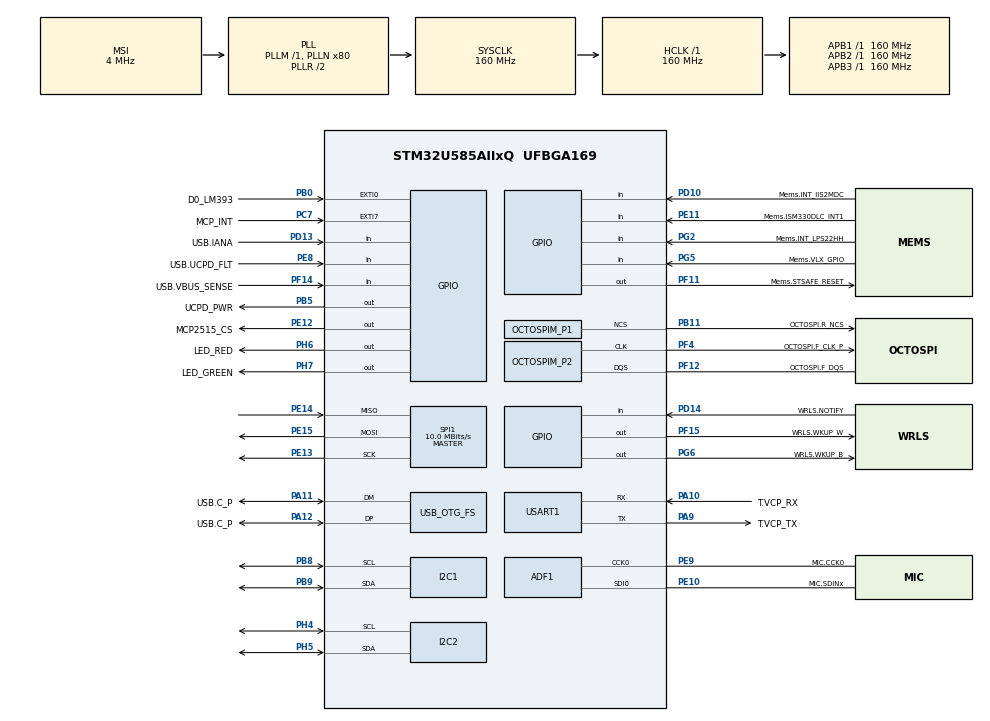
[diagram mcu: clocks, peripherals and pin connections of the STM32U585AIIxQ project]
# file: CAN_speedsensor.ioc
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CORTEX_M33_NS.userName=CORTEX_M33
I2C1.Timing=0x30909DEC
I2C2.Timing=0x30909DEC
Mcu.Family=STM32U5
Mcu.Name=STM32U585AIIxQ
Mcu.Package=UFBGA169
NVIC.EXTI0_IRQn=true\:0\:0\:false\:false\:true\:true\:true\:true
NVIC.EXTI7_IRQn=true\:0\:0\:false\:false\:true\:true\:true\:true
NVIC.PriorityGroup=NVIC_PRIORITYGROUP_4
OCTOSPI1.ChipSelectBoundary=10
OCTOSPI1.ClockPrescaler=2
OCTOSPI1.DelayBlockBypass=HAL_OSPI_DELAY_BLOCK_USED
OCTOSPI1.DelayHoldQuarterCycle=HAL_OSPI_DHQC_ENABLE
OCTOSPI1.DeviceSize=23
OCTOSPI1.MemoryType=HAL_OSPI_MEMTYPE_APMEMORY
OCTOSPI1.Refresh=100
OCTOSPI2.ChipSelectBoundary=0
OCTOSPI2.ChipSelectHighTime=2
OCTOSPI2.ClockPrescaler=4
OCTOSPI2.DelayBlockBypass=HAL_OSPI_DELAY_BLOCK_USED
OCTOSPI2.DelayHoldQuarterCycle=HAL_OSPI_DHQC_ENABLE
OCTOSPI2.DeviceSize=26
OCTOSPI2.FifoThreshold=4
OCTOSPI2.MemoryType=HAL_OSPI_MEMTYPE_MACRONIX
PA10.GPIO_Label=T.VCP_RX
PA10.Mode=Asynchronous
PA10.Signal=USART1_RX
PA11.GPIO_Label=USB.C_P
PA11.Mode=Device_Only
PA11.Signal=USB_OTG_FS_DM
PA12.GPIO_Label=USB.C_P
PA12.Mode=Device_Only
PA12.Signal=USB_OTG_FS_DP
PA13\ (JTMS/SWDIO).GPIO_Label=T.SWDIO
PA13\ (JTMS/SWDIO).Mode=Trace_Asynchronous_SW
PA13\ (JTMS/SWDIO).Signal=DEBUG_JTMS-SWDIO
PA14\ (JTCK/SWCLK).GPIO_Label=T.SWCLK
PA14\ (JTCK/SWCLK).Mode=Trace_Asynchronous_SW
PA14\ (JTCK/SWCLK).Signal=DEBUG_JTCK-SWCLK
PA9.GPIO_Label=T.VCP_TX
PA9.Mode=Asynchronous
PA9.Signal=USART1_TX
PB0.GPIO_Label=D0_LM393
PB0.GPIO_ModeDefaultEXTI=GPIO_MODE_IT_FALLING
PB0.GPIO_PuPd=GPIO_PULLUP
PB0.Signal=GPXTI0
PB11.GPIO_Label=OCTOSPI.R_NCS
PB11.Mode=OCTOSPI1_Port1_NCS
PB11.Signal=OCTOSPIM_P1_NCS
PB15.GPIO_Label=USB.UCPD_CC2
PB15.Signal=UCPD1_CC2
PB3\ (JTDO/TRACESWO).GPIO_Label=T.SWO
PB3\ (JTDO/TRACESWO).Mode=Trace_Asynchronous_SW
PB3\ (JTDO/TRACESWO).Signal=DEBUG_JTDO-SWO
PB5.GPIO_Label=UCPD_PWR
PB5.Signal=GPIO_Output
PB8.Mode=I2C
PB8.Signal=I2C1_SCL
PB9.Mode=I2C
PB9.Signal=I2C1_SDA
PC10.GPIO_Label=WRLS.UART4_TX
PC10.Signal=UART4_TX
PC7.GPIO_Label=MCP_INT
PC7.GPIO_ModeDefaultEXTI=GPIO_MODE_IT_FALLING
PC7.GPIO_PuPd=GPIO_PULLUP
PC7.Signal=GPXTI7
PD10.GPIO_Label=Mems.INT_IIS2MDC
PD10.Signal=GPIO_Input
PD13.GPIO_Label=USB.IANA
PD13.Signal=GPIO_Input
PD14.GPIO_Label=WRLS.NOTIFY
PD14.Signal=GPIO_Input
PD3.GPIO_Mode=GPIO_MODE_AF_PP
PD3.GPIO_PuPd=GPIO_NOPULL
PD3.GPIO_Speed=GPIO_SPEED_FREQ_LOW
PD3.Signal=SPI2_MISO
PD4.GPIO_Mode=GPIO_MODE_AF_PP
PD4.GPIO_PuPd=GPIO_NOPULL
PD4.GPIO_Speed=GPIO_SPEED_FREQ_LOW
PD4.Signal=SPI2_MOSI
PE10.GPIO_Label=MIC.SDINx
PE10.Mode=MOD_ADF_CCK
PE10.Signal=ADF1_SDI0
PE11.GPIO_Label=Mems.ISM330DLC_INT1
PE11.Signal=GPIO_Input
PE12.GPIO_Label=MCP2515_CS
PE12.GPIO_PuPd=GPIO_NOPULL
PE12.PinState=GPIO_PIN_SET
PE12.Signal=GPIO_Output
PE13.Mode=Full_Duplex_Master
PE13.Signal=SPI1_SCK
PE14.Mode=Full_Duplex_Master
PE14.Signal=SPI1_MISO
PE15.Mode=Full_Duplex_Master
PE15.Signal=SPI1_MOSI
PE8.GPIO_Label=USB.UCPD_FLT
PE8.Signal=GPIO_Input
PE9.GPIO_Label=MIC.CCK0
PE9.Mode=MOD_MDF_CCK0
PE9.Signal=ADF1_CCK0
PF11.GPIO_Label=Mems.STSAFE_RESET
PF11.Signal=GPIO_Output
PF12.GPIO_Label=OCTOSPI.F_DQS
PF12.Mode=OCTOSPI2_Port2_DQS
PF12.Signal=OCTOSPIM_P2_DQS
PF14.GPIO_Label=USB.VBUS_SENSE
PF14.Signal=GPIO_Input
PF15.GPIO_Label=WRLS.WKUP_W
PF15.Signal=GPIO_Output
PF4.GPIO_Label=OCTOSPI.F_CLK_P
PF4.Mode=O2_P2_CLK
PF4.Signal=OCTOSPIM_P2_CLK
PG2.GPIO_Label=Mems.INT_LPS22HH
PG2.Signal=GPIO_Input
PG5.GPIO_Label=Mems.VLX_GPIO
PG5.Signal=GPIO_Input
PG6.GPIO_Label=WRLS.WKUP_B
PG6.Signal=GPIO_Output
PH4.Mode=I2C
PH4.Signal=I2C2_SCL
PH5.Mode=I2C
PH5.Signal=I2C2_SDA
PH6.GPIO_Label=LED_RED
PH6.Signal=GPIO_Output
PH7.GPIO_Label=LED_GREEN
PH7.Signal=GPIO_Output
PH9.GPIO_Label=OCTOSPI.F_IO4
PH9.Signal=OCTOSPIM_P2_IO4
PWR.PowerMode=PWR_SMPS_SUPPLY
ProjectManager.HeapSize=0x200
ProjectManager.StackSize=0x400
ProjectManager.TargetToolchain=STM32CubeIDE
RCC.ADCFreq_Value=16000000
RCC.AHBFreq_Value=160000000
RCC.APB1Freq_Value=160000000
RCC.APB1TimFreq_Value=160000000
RCC.APB2Freq_Value=160000000
RCC.APB2TimFreq_Value=160000000
RCC.APB3Freq_Value=160000000
RCC.CortexFreq_Value=160000000
RCC.DACCLockSelectionVirtual=RCC_DAC1CLKSOURCE_LSI
RCC.EPOD_VALUE=4000000
RCC.HCLKFreq_Value=160000000
RCC.HSE_VALUE=16000000
RCC.HSI48_VALUE=48000000
RCC.HSI_VALUE=16000000
RCC.LSE_VALUE=32768
RCC.LSIDIV_VALUE=32000
RCC.MSI_VALUE=4000000
RCC.PLLN=80
RCC.SYSCLKFreq_VALUE=160000000
RCC.SYSCLKSource=RCC_SYSCLKSOURCE_PLLCLK
RCC.USBFreq_Value=48000000
RCC.VCOOutputFreq_Value=320000000
SPI1.BaudRatePrescaler=SPI_BAUDRATEPRESCALER_16
SPI1.CalculateBaudRate=10.0 MBits/s
SPI1.DataSize=SPI_DATASIZE_8BIT
SPI1.Direction=SPI_DIRECTION_2LINES
SPI1.Mode=SPI_MODE_MASTER
SPI1.VirtualType=VM_MASTER
USART1.VirtualMode-Asynchronous=VM_ASYNC
USB_OTG_FS.VirtualMode=Device_Only
VP_ICACHE_VS_ICACHE.Mode=DirectMappedCache
VP_LPBAMQUEUE_VS_QUEUE.Mode=QUEUEMODE
VP_LPBAM_VS_SIG1.Mode=SmartRun
VP_LPBAM_VS_SIG4.Mode=LPDMA1
VP_MEMORYMAP_VS_MEMORYMAP.Mode=CurAppReg
VP_OCTOSPI1_VS_octo.Mode=octo_mode
VP_OCTOSPI2_VS_octo.Mode=octo_mode
VP_PWR_VS_DBSignals.Mode=DisableDeadBatterySignals
VP_PWR_VS_LPOM.Mode=PowerOptimisation
VP_PWR_VS_SECSignals.Mode=Security/Privilege
board=B-U585I-IOT02A

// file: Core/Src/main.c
/* USER CODE BEGIN Header */
/**
  ******************************************************************************
  * @file           : main.c
  * @brief          : Main program body
  ******************************************************************************
  * @attention
  *
  * Copyright (c) 2025 STMicroelectronics.
  * All rights reserved.
  *
  * This software is licensed under terms that can be found in the LICENSE file
  * in the root directory of this software component.
  * If no LICENSE file comes with this software, it is provided AS-IS.
  *
  ******************************************************************************
  */
/* USER CODE END Header */
#include "main.h"

/* USER CODE BEGIN Includes */
#include "mcp2515.h"
#include <string.h>
#include <stdio.h>
#include "core_cm33.h"
/* USER CODE END Includes */

/* USER CODE BEGIN PD */
#define PULSOS_POR_ROTACAO 20  // Number of holes in the encoder disc
#define INTERVALO_ENVIO_MS 100 // Updates the RPM and sends CAN every 100ms (10Hz)
/* USER CODE END PD */

MDF_HandleTypeDef AdfHandle0;
MDF_FilterConfigTypeDef AdfFilterConfig0;

I2C_HandleTypeDef hi2c1;
I2C_HandleTypeDef hi2c2;

OSPI_HandleTypeDef hospi1;
OSPI_HandleTypeDef hospi2;

SPI_HandleTypeDef hspi1;

UART_HandleTypeDef huart1;

PCD_HandleTypeDef hpcd_USB_OTG_FS;

/* USER CODE BEGIN PV */
// --- Sensor variables---
volatile uint32_t pulse_count = 0; // Pulse counter (incremented on interrupt)
int rpm = 0;
uint32_t last_pulse_count = 0;
uint32_t last_time_ms = 0;
volatile uint32_t last_pulse_time = 0;
volatile uint32_t delta_t = 0;
volatile float rpm_instant = 0;
uint32_t last_print = 0;
volatile uint32_t last_interrupt_time = 0;

// --- CAN variables ---
CAN_Frame rxFrame;
volatile uint8_t flag_mensagem_recebida = 0; // Flag to process in the loop
/* USER CODE END PV */

void SystemClock_Config(void);
static void SystemPower_Config(void);
static void MX_GPIO_Init(void);
static void MX_ADF1_Init(void);
static void MX_I2C1_Init(void);
static void MX_I2C2_Init(void);
static void MX_ICACHE_Init(void);
static void MX_USART1_UART_Init(void);
static void MX_USB_OTG_FS_PCD_Init(void);
static void MX_SPI1_Init(void);

/* USER CODE BEGIN 0 */

//Debug SWV print
int _write(int file, char *ptr, int len) {
    for (int i = 0; i < len; i++) {
        ITM_SendChar(*ptr++);
    }
    return len;
}

// Unified Interrupt Function (EXTI)
void HAL_GPIO_EXTI_Callback(uint16_t GPIO_Pin)
{
    //if (GPIO_Pin == D0_LM393_Pin)
    //{
    	//pulse_count++;
    //}

    // 2. Check if it was the CAN (MCP_INT_Pin)
    /*else if (GPIO_Pin == MCP_INT_Pin)
    {
    	// Lê o registrador de interrupção para verificar a fonte
    	//uint8_t intf = MCP2515_ReadByte(MCP_CANINTF);

    	//if (intf & 0x01) { // RX0IF - Mensagem recebida no buffer 0
    		//flag_mensagem_recebida = 1;
    	//}

        printf("*** INTERRUPT DETECTED on MCP_INT pin! ***\n");
        printf("GPIO_Pin: 0x%04X\n", GPIO_Pin);

        uint8_t intf = MCP2515_ReadByte(MCP_CANINTF);
        printf("CANINTF register: 0x%02X\n", intf);

        if (intf & 0x01) {
            flag_mensagem_recebida = 1;
            printf("RX0IF set - message received!\n");
        } else {
            printf("RX0IF NOT set - interrupt por outra causa\n");
        }
    }*/
}

/* USER CODE END 0 */

int main(void)
{

  /* MCU Configuration--------------------------------------------------------*/

  /* Reset of all peripherals, Initializes the Flash interface and the Systick. */
  HAL_Init();

  /* Configure the System Power */
  SystemPower_Config();

  /* Configure the system clock */
  SystemClock_Config();

  /* Initialize all configured peripherals */
  MX_ADF1_Init();
  MX_I2C1_Init();
  MX_I2C2_Init();
  MX_ICACHE_Init();
  MX_USART1_UART_Init();
  MX_USB_OTG_FS_PCD_Init();
  MX_SPI1_Init();
  MX_GPIO_Init();
  /* USER CODE BEGIN 2 */
  	//just for debugging, delete afterwards
    printf("\n--- Sensor initialization check ---\n");

    uint32_t primask = __get_PRIMASK();
    printf("PRIMASK: %lu (It should be 0. If it's 1, interrupts are globally disabled.)\n", primask);
    printf("SCB->VTOR: 0x%08lX (should be 0x08000000)\n", SCB->VTOR);
    printf("ISER[0] final: 0x%08lX\n", NVIC->ISER[0]);

    printf("SWIER Direct Test...\n");

    uint32_t count_antes = pulse_count;

    // !!!!!!!!!!!NAO APAGAR ESSA LINHA!!!!!!!!!!!!!
    EXTI->SWIER1 = (1 << 0);

    HAL_Delay(100);

    if (pulse_count > count_antes) {
        printf("!!! SUCCESS !!! The sensor code entered the interrupt.\n");
    } else {
        printf("TOTAL FAILURE. The processor refuses to jump to the address. 0x%08lX\n");
    }
    // -----------------------------------------------------

  printf("Initializing MCP2515...\r\n");

  // Reset inicial
  MCP2515_Reset();
  HAL_Delay(10);

  // Configure bitrate - THIS FUNCTION ALREADY PUTS YOU IN CONFIG MODE
  if (MCP2515_SetBitrate(CAN_500KBPS, MCP_8MHZ) != HAL_OK) {
      printf("ERROR: Bit rate\n");
  }

  // Configure filters
  // Here we have to change things later
  //there's no standard for arbitration, security, or priority.
  //We receive everything that comes via the Africa Cup of Nations.
  //I'll switch after studying the Uprotocol.
  MCP2515_WriteByte(MCP_RXB0CTRL, 0x60); // Receive all messages
  MCP2515_WriteByte(MCP_RXM0SIDH, 0x00);
  MCP2515_WriteByte(MCP_RXM0SIDL, 0x00);
  MCP2515_WriteByte(MCP_RXM1SIDH, 0x00);
  MCP2515_WriteByte(MCP_RXM1SIDL, 0x00);

  // enable interrupts
  // Receive Buffer 0 Interrupt (RX0IE) to trigger MCU IRQ on new data
  MCP2515_WriteByte(MCP_CANINTE, 0x01);

  // Clear all pending interrupt flags to ensure a clean start state
  MCP2515_WriteByte(MCP_CANINTF, 0x00);

  // Switch from configuration mode to normal Mode to start bus communication
  MCP2515_WriteByte(MCP_CANCTRL, MODE_NORMAL);
  HAL_Delay(10);

  // Final verification
  uint8_t check_inte = MCP2515_ReadByte(MCP_CANINTE);
  uint8_t check_intf = MCP2515_ReadByte(MCP_CANINTF);
  uint8_t final_canstat = MCP2515_ReadByte(MCP_CANSTAT);

  printf("Final check - CANINTE: 0x%02X, CANINTF: 0x%02X, CANSTAT: 0x%02X\n",
         check_inte, check_intf, final_canstat);

  if (check_inte == 0x01) {
      printf("SUCCESS: MCP2515 initialized - interrupts ENABLED\n");
  } else {
      printf("ERROR: Interrupts not enabled! CANINTE=0x%02X\n", check_inte);
  }

  printf("MCP2515 in NORMAL mode and ready\n");
  /* USER CODE END 2 */

  /* Infinite loop */
  /* USER CODE BEGIN WHILE */
  while (1)
  {
	  // Check if 100ms have passed (Non-blocking delay)
	  if (HAL_GetTick() - last_print > 100) {
		  last_print = HAL_GetTick();
		  printf("pulse counting: %lu\n", pulse_count);

          CAN_Frame frame_envio;
          frame_envio.id = 0x123; // ID agreed with Raspberry Pi // Ver Padrão OBD-II
          frame_envio.dlc = 2;    // Sending 2 bytes

          // 3. pulse Packaging (Big Endian - Most common in networks)
          // Byte 0: High range
          // Byte 1: Low range
          // cleansing mask & 0xFF
          frame_envio.data[0] = (pulse_count >> 8) & 0xFF;
          frame_envio.data[1] = (pulse_count) & 0xFF;

          // 4. Send
          if (MCP2515_SendMessage(&frame_envio) == HAL_OK) {
              // dubug
              printf("TX CAN OK: pulse_count=%d\n", pulse_count);
          } else {
              printf("TX CAN FALHOU\n");
          }
	  }

	  if (flag_mensagem_recebida == 1)
	  {
		  flag_mensagem_recebida = 0;

		  if (MCP2515_ReceiveMessage(&rxFrame) == HAL_OK) {
			  printf("RX CAN ID=0x%03lX DLC=%d Data=", rxFrame.id, rxFrame.dlc);
			  for(int i = 0; i < rxFrame.dlc; i++) {
				  printf("%02X ", rxFrame.data[i]);
			  }
	          printf("\n");
		  }
	  }
	  HAL_Delay(10);
    /* USER CODE END WHILE */

  }
}

void SystemClock_Config(void)
{
  RCC_OscInitTypeDef RCC_OscInitStruct = {0};
  RCC_ClkInitTypeDef RCC_ClkInitStruct = {0};

  /** Configure the main internal regulator output voltage
  */
  if (HAL_PWREx_ControlVoltageScaling(PWR_REGULATOR_VOLTAGE_SCALE1) != HAL_OK)
  {
    Error_Handler();
  }

  /** Initializes the CPU, AHB and APB buses clocks
  */
  RCC_OscInitStruct.OscillatorType = RCC_OSCILLATORTYPE_HSI48|RCC_OSCILLATORTYPE_MSI;
  RCC_OscInitStruct.HSI48State = RCC_HSI48_ON;
  RCC_OscInitStruct.MSIState = RCC_MSI_ON;
  RCC_OscInitStruct.MSICalibrationValue = RCC_MSICALIBRATION_DEFAULT;
  RCC_OscInitStruct.MSIClockRange = RCC_MSIRANGE_4;
  RCC_OscInitStruct.PLL.PLLState = RCC_PLL_ON;
  RCC_OscInitStruct.PLL.PLLSource = RCC_PLLSOURCE_MSI;
  RCC_OscInitStruct.PLL.PLLMBOOST = RCC_PLLMBOOST_DIV1;
  RCC_OscInitStruct.PLL.PLLM = 1;
  RCC_OscInitStruct.PLL.PLLN = 80;
  RCC_OscInitStruct.PLL.PLLP = 2;
  RCC_OscInitStruct.PLL.PLLQ = 2;
  RCC_OscInitStruct.PLL.PLLR = 2;
  RCC_OscInitStruct.PLL.PLLRGE = RCC_PLLVCIRANGE_0;
  RCC_OscInitStruct.PLL.PLLFRACN = 0;
  if (HAL_RCC_OscConfig(&RCC_OscInitStruct) != HAL_OK)
  {
    Error_Handler();
  }

  /** Initializes the CPU, AHB and APB buses clocks
  */
  RCC_ClkInitStruct.ClockType = RCC_CLOCKTYPE_HCLK|RCC_CLOCKTYPE_SYSCLK
                              |RCC_CLOCKTYPE_PCLK1|RCC_CLOCKTYPE_PCLK2
                              |RCC_CLOCKTYPE_PCLK3;
  RCC_ClkInitStruct.SYSCLKSource = RCC_SYSCLKSOURCE_PLLCLK;
  RCC_ClkInitStruct.AHBCLKDivider = RCC_SYSCLK_DIV1;
  RCC_ClkInitStruct.APB1CLKDivider = RCC_HCLK_DIV1;
  RCC_ClkInitStruct.APB2CLKDivider = RCC_HCLK_DIV1;
  RCC_ClkInitStruct.APB3CLKDivider = RCC_HCLK_DIV1;

  if (HAL_RCC_ClockConfig(&RCC_ClkInitStruct, FLASH_LATENCY_4) != HAL_OK)
  {
    Error_Handler();
  }
}

/**
  * @brief Power Configuration
  * @retval None
  */
static void SystemPower_Config(void)
{
  HAL_PWREx_EnableVddIO2();

  /*
   * Disable the internal Pull-Up in Dead Battery pins of UCPD peripheral
   */
  HAL_PWREx_DisableUCPDDeadBattery();

  /*
   * Switch to SMPS regulator instead of LDO
   */
  if (HAL_PWREx_ConfigSupply(PWR_SMPS_SUPPLY) != HAL_OK)
  {
    Error_Handler();
  }
}

static void MX_ADF1_Init(void)
{

  /**
    AdfHandle0 structure initialization and HAL_MDF_Init function call
  */
  AdfHandle0.Instance = ADF1_Filter0;
  AdfHandle0.Init.CommonParam.ProcClockDivider = 1;
  AdfHandle0.Init.CommonParam.OutputClock.Activation = DISABLE;
  AdfHandle0.Init.SerialInterface.Activation = ENABLE;
  AdfHandle0.Init.SerialInterface.Mode = MDF_SITF_LF_MASTER_SPI_MODE;
  AdfHandle0.Init.SerialInterface.ClockSource = MDF_SITF_CCK0_SOURCE;
  AdfHandle0.Init.SerialInterface.Threshold = 4;
  AdfHandle0.Init.FilterBistream = MDF_BITSTREAM0_FALLING;
  if (HAL_MDF_Init(&AdfHandle0) != HAL_OK)
  {
    Error_Handler();
  }

  /**
    AdfFilterConfig0 structure initialization

    WARNING : only structure is filled, no specific init function call for filter
  */
  AdfFilterConfig0.DataSource = MDF_DATA_SOURCE_BSMX;
  AdfFilterConfig0.Delay = 0;
  AdfFilterConfig0.CicMode = MDF_ONE_FILTER_SINC4;
  AdfFilterConfig0.DecimationRatio = 2;
  AdfFilterConfig0.Gain = 0;
  AdfFilterConfig0.ReshapeFilter.Activation = DISABLE;
  AdfFilterConfig0.HighPassFilter.Activation = DISABLE;
  AdfFilterConfig0.SoundActivity.Activation = DISABLE;
  AdfFilterConfig0.AcquisitionMode = MDF_MODE_ASYNC_CONT;
  AdfFilterConfig0.FifoThreshold = MDF_FIFO_THRESHOLD_NOT_EMPTY;
  AdfFilterConfig0.DiscardSamples = 0;

}

static void MX_I2C1_Init(void)
{

  hi2c1.Instance = I2C1;
  hi2c1.Init.Timing = 0x30909DEC;
  hi2c1.Init.OwnAddress1 = 0;
  hi2c1.Init.AddressingMode = I2C_ADDRESSINGMODE_7BIT;
  hi2c1.Init.DualAddressMode = I2C_DUALADDRESS_DISABLE;
  hi2c1.Init.OwnAddress2 = 0;
  hi2c1.Init.OwnAddress2Masks = I2C_OA2_NOMASK;
  hi2c1.Init.GeneralCallMode = I2C_GENERALCALL_DISABLE;
  hi2c1.Init.NoStretchMode = I2C_NOSTRETCH_DISABLE;
  if (HAL_I2C_Init(&hi2c1) != HAL_OK)
  {
    Error_Handler();
  }

  /** Configure Analogue filter
  */
  if (HAL_I2CEx_ConfigAnalogFilter(&hi2c1, I2C_ANALOGFILTER_ENABLE) != HAL_OK)
  {
    Error_Handler();
  }

  /** Configure Digital filter
  */
  if (HAL_I2CEx_ConfigDigitalFilter(&hi2c1, 0) != HAL_OK)
  {
    Error_Handler();
  }

}

static void MX_I2C2_Init(void)
{

  hi2c2.Instance = I2C2;
  hi2c2.Init.Timing = 0x30909DEC;
  hi2c2.Init.OwnAddress1 = 0;
  hi2c2.Init.AddressingMode = I2C_ADDRESSINGMODE_7BIT;
  hi2c2.Init.DualAddressMode = I2C_DUALADDRESS_DISABLE;
  hi2c2.Init.OwnAddress2 = 0;
  hi2c2.Init.OwnAddress2Masks = I2C_OA2_NOMASK;
  hi2c2.Init.GeneralCallMode = I2C_GENERALCALL_DISABLE;
  hi2c2.Init.NoStretchMode = I2C_NOSTRETCH_DISABLE;
  if (HAL_I2C_Init(&hi2c2) != HAL_OK)
  {
    Error_Handler();
  }

  /** Configure Analogue filter
  */
  if (HAL_I2CEx_ConfigAnalogFilter(&hi2c2, I2C_ANALOGFILTER_ENABLE) != HAL_OK)
  {
    Error_Handler();
  }

  /** Configure Digital filter
  */
  if (HAL_I2CEx_ConfigDigitalFilter(&hi2c2, 0) != HAL_OK)
  {
    Error_Handler();
  }

}

static void MX_ICACHE_Init(void)
{

  /** Enable instruction cache in 1-way (direct mapped cache)
  */
  if (HAL_ICACHE_ConfigAssociativityMode(ICACHE_1WAY) != HAL_OK)
  {
    Error_Handler();
  }
  if (HAL_ICACHE_Enable() != HAL_OK)
  {
    Error_Handler();
  }

}

static void MX_SPI1_Init(void)
{

  SPI_AutonomousModeConfTypeDef HAL_SPI_AutonomousMode_Cfg_Struct = {0};

  /* SPI1 parameter configuration*/
  hspi1.Instance = SPI1;
  hspi1.Init.Mode = SPI_MODE_MASTER;
  hspi1.Init.Direction = SPI_DIRECTION_2LINES;
  hspi1.Init.DataSize = SPI_DATASIZE_8BIT;
  hspi1.Init.CLKPolarity = SPI_POLARITY_LOW;
  hspi1.Init.CLKPhase = SPI_PHASE_1EDGE;
  hspi1.Init.NSS = SPI_NSS_SOFT;
  hspi1.Init.BaudRatePrescaler = SPI_BAUDRATEPRESCALER_16;
  hspi1.Init.FirstBit = SPI_FIRSTBIT_MSB;
  hspi1.Init.TIMode = SPI_TIMODE_DISABLE;
  hspi1.Init.CRCCalculation = SPI_CRCCALCULATION_DISABLE;
  hspi1.Init.CRCPolynomial = 0x7;
  hspi1.Init.NSSPMode = SPI_NSS_PULSE_ENABLE;
  hspi1.Init.NSSPolarity = SPI_NSS_POLARITY_LOW;
  hspi1.Init.FifoThreshold = SPI_FIFO_THRESHOLD_01DATA;
  hspi1.Init.MasterSSIdleness = SPI_MASTER_SS_IDLENESS_00CYCLE;
  hspi1.Init.MasterInterDataIdleness = SPI_MASTER_INTERDATA_IDLENESS_00CYCLE;
  hspi1.Init.MasterReceiverAutoSusp = SPI_MASTER_RX_AUTOSUSP_DISABLE;
  hspi1.Init.MasterKeepIOState = SPI_MASTER_KEEP_IO_STATE_DISABLE;
  hspi1.Init.IOSwap = SPI_IO_SWAP_DISABLE;
  hspi1.Init.ReadyMasterManagement = SPI_RDY_MASTER_MANAGEMENT_INTERNALLY;
  hspi1.Init.ReadyPolarity = SPI_RDY_POLARITY_HIGH;
  if (HAL_SPI_Init(&hspi1) != HAL_OK)
  {
    Error_Handler();
  }
  HAL_SPI_AutonomousMode_Cfg_Struct.TriggerState = SPI_AUTO_MODE_DISABLE;
  HAL_SPI_AutonomousMode_Cfg_Struct.TriggerSelection = SPI_GRP1_GPDMA_CH0_TCF_TRG;
  HAL_SPI_AutonomousMode_Cfg_Struct.TriggerPolarity = SPI_TRIG_POLARITY_RISING;
  if (HAL_SPIEx_SetConfigAutonomousMode(&hspi1, &HAL_SPI_AutonomousMode_Cfg_Struct) != HAL_OK)
  {
    Error_Handler();
  }

}

static void MX_USART1_UART_Init(void)
{

  huart1.Instance = USART1;
  huart1.Init.BaudRate = 115200;
  huart1.Init.WordLength = UART_WORDLENGTH_8B;
  huart1.Init.StopBits = UART_STOPBITS_1;
  huart1.Init.Parity = UART_PARITY_NONE;
  huart1.Init.Mode = UART_MODE_TX_RX;
  huart1.Init.HwFlowCtl = UART_HWCONTROL_NONE;
  huart1.Init.OverSampling = UART_OVERSAMPLING_16;
  huart1.Init.OneBitSampling = UART_ONE_BIT_SAMPLE_DISABLE;
  huart1.Init.ClockPrescaler = UART_PRESCALER_DIV1;
  huart1.AdvancedInit.AdvFeatureInit = UART_ADVFEATURE_NO_INIT;
  if (HAL_UART_Init(&huart1) != HAL_OK)
  {
    Error_Handler();
  }
  if (HAL_UARTEx_SetTxFifoThreshold(&huart1, UART_TXFIFO_THRESHOLD_1_8) != HAL_OK)
  {
    Error_Handler();
  }
  if (HAL_UARTEx_SetRxFifoThreshold(&huart1, UART_RXFIFO_THRESHOLD_1_8) != HAL_OK)
  {
    Error_Handler();
  }
  if (HAL_UARTEx_DisableFifoMode(&huart1) != HAL_OK)
  {
    Error_Handler();
  }

}

static void MX_USB_OTG_FS_PCD_Init(void)
{

  hpcd_USB_OTG_FS.Instance = USB_OTG_FS;
  hpcd_USB_OTG_FS.Init.dev_endpoints = 6;
  hpcd_USB_OTG_FS.Init.speed = PCD_SPEED_FULL;
  hpcd_USB_OTG_FS.Init.phy_itface = PCD_PHY_EMBEDDED;
  hpcd_USB_OTG_FS.Init.Sof_enable = DISABLE;
  hpcd_USB_OTG_FS.Init.low_power_enable = DISABLE;
  hpcd_USB_OTG_FS.Init.lpm_enable = DISABLE;
  hpcd_USB_OTG_FS.Init.battery_charging_enable = DISABLE;
  hpcd_USB_OTG_FS.Init.use_dedicated_ep1 = DISABLE;
  hpcd_USB_OTG_FS.Init.vbus_sensing_enable = DISABLE;
  hpcd_USB_OTG_FS.Init.dma_enable = DISABLE;
  if (HAL_PCD_Init(&hpcd_USB_OTG_FS) != HAL_OK)
  {
    Error_Handler();
  }

}

static void MX_GPIO_Init(void)
{
  GPIO_InitTypeDef GPIO_InitStruct = {0};

  /* GPIO Ports Clock Enable */
  __HAL_RCC_GPIOB_CLK_ENABLE();
  __HAL_RCC_GPIOD_CLK_ENABLE();
  __HAL_RCC_GPIOC_CLK_ENABLE();
  __HAL_RCC_GPIOA_CLK_ENABLE();
  __HAL_RCC_GPIOH_CLK_ENABLE();
  __HAL_RCC_GPIOF_CLK_ENABLE();
  __HAL_RCC_GPIOE_CLK_ENABLE();
  __HAL_RCC_GPIOG_CLK_ENABLE();

  /*Configure GPIO pin Output Level */
  HAL_GPIO_WritePin(UCPD_PWR_GPIO_Port, UCPD_PWR_Pin, GPIO_PIN_RESET);

  /*Configure GPIO pin Output Level */
  HAL_GPIO_WritePin(GPIOH, LED_RED_Pin|LED_GREEN_Pin, GPIO_PIN_RESET);

  /*Configure GPIO pin Output Level */
  HAL_GPIO_WritePin(WRLS_WKUP_B_GPIO_Port, WRLS_WKUP_B_Pin, GPIO_PIN_RESET);

  /*Configure GPIO pin Output Level */
  HAL_GPIO_WritePin(GPIOF, Mems_STSAFE_RESET_Pin|WRLS_WKUP_W_Pin, GPIO_PIN_RESET);

  /*Configure GPIO pin Output Level */
  HAL_GPIO_WritePin(MCP2515_CS_GPIO_Port, MCP2515_CS_Pin, GPIO_PIN_SET);

  /*Configure GPIO pin : UCPD_PWR_Pin */
  GPIO_InitStruct.Pin = UCPD_PWR_Pin;
  GPIO_InitStruct.Mode = GPIO_MODE_OUTPUT_PP;
  GPIO_InitStruct.Pull = GPIO_NOPULL;
  GPIO_InitStruct.Speed = GPIO_SPEED_FREQ_LOW;
  HAL_GPIO_Init(UCPD_PWR_GPIO_Port, &GPIO_InitStruct);

  /*Configure GPIO pins : PD4 PD3 */
  GPIO_InitStruct.Pin = GPIO_PIN_4|GPIO_PIN_3;
  GPIO_InitStruct.Mode = GPIO_MODE_AF_PP;
  GPIO_InitStruct.Pull = GPIO_NOPULL;
  GPIO_InitStruct.Speed = GPIO_SPEED_FREQ_LOW;
  GPIO_InitStruct.Alternate = GPIO_AF5_SPI2;
  HAL_GPIO_Init(GPIOD, &GPIO_InitStruct);

  /*Configure GPIO pin : WRLS_UART4_TX_Pin */
  GPIO_InitStruct.Pin = WRLS_UART4_TX_Pin;
  GPIO_InitStruct.Mode = GPIO_MODE_AF_PP;
  GPIO_InitStruct.Pull = GPIO_NOPULL;
  GPIO_InitStruct.Speed = GPIO_SPEED_FREQ_LOW;
  GPIO_InitStruct.Alternate = GPIO_AF8_UART4;
  HAL_GPIO_Init(WRLS_UART4_TX_GPIO_Port, &GPIO_InitStruct);

  /*Configure GPIO pins : LED_RED_Pin LED_GREEN_Pin */
  GPIO_InitStruct.Pin = LED_RED_Pin|LED_GREEN_Pin;
  GPIO_InitStruct.Mode = GPIO_MODE_OUTPUT_PP;
  GPIO_InitStruct.Pull = GPIO_NOPULL;
  GPIO_InitStruct.Speed = GPIO_SPEED_FREQ_LOW;
  HAL_GPIO_Init(GPIOH, &GPIO_InitStruct);

  /*Configure GPIO pin : MCP_INT_Pin */
  GPIO_InitStruct.Pin = MCP_INT_Pin;
  GPIO_InitStruct.Mode = GPIO_MODE_IT_FALLING;
  GPIO_InitStruct.Pull = GPIO_PULLUP;
  HAL_GPIO_Init(MCP_INT_GPIO_Port, &GPIO_InitStruct);

  /*Configure GPIO pin : WRLS_WKUP_B_Pin */
  GPIO_InitStruct.Pin = WRLS_WKUP_B_Pin;
  GPIO_InitStruct.Mode = GPIO_MODE_OUTPUT_PP;
  GPIO_InitStruct.Pull = GPIO_NOPULL;
  GPIO_InitStruct.Speed = GPIO_SPEED_FREQ_LOW;
  HAL_GPIO_Init(WRLS_WKUP_B_GPIO_Port, &GPIO_InitStruct);

  /*Configure GPIO pins : Mems_VLX_GPIO_Pin Mems_INT_LPS22HH_Pin */
  GPIO_InitStruct.Pin = Mems_VLX_GPIO_Pin|Mems_INT_LPS22HH_Pin;
  GPIO_InitStruct.Mode = GPIO_MODE_INPUT;
  GPIO_InitStruct.Pull = GPIO_NOPULL;
  HAL_GPIO_Init(GPIOG, &GPIO_InitStruct);

  /*Configure GPIO pins : WRLS_NOTIFY_Pin Mems_INT_IIS2MDC_Pin USB_IANA_Pin */
  GPIO_InitStruct.Pin = WRLS_NOTIFY_Pin|Mems_INT_IIS2MDC_Pin|USB_IANA_Pin;
  GPIO_InitStruct.Mode = GPIO_MODE_INPUT;
  GPIO_InitStruct.Pull = GPIO_NOPULL;
  HAL_GPIO_Init(GPIOD, &GPIO_InitStruct);

  /*Configure GPIO pin : D0_LM393_Pin */
  GPIO_InitStruct.Pin = D0_LM393_Pin;
  GPIO_InitStruct.Mode = GPIO_MODE_IT_FALLING;
  GPIO_InitStruct.Pull = GPIO_PULLUP;
  GPIO_InitStruct.Alternate = 0;
  HAL_GPIO_Init(D0_LM393_GPIO_Port, &GPIO_InitStruct);

  /*Configure GPIO pins : USB_UCPD_FLT_Pin Mems_ISM330DLC_INT1_Pin */
  GPIO_InitStruct.Pin = USB_UCPD_FLT_Pin|Mems_ISM330DLC_INT1_Pin;
  GPIO_InitStruct.Mode = GPIO_MODE_INPUT;
  GPIO_InitStruct.Pull = GPIO_NOPULL;
  HAL_GPIO_Init(GPIOE, &GPIO_InitStruct);

  /*Configure GPIO pin : USB_VBUS_SENSE_Pin */
  GPIO_InitStruct.Pin = USB_VBUS_SENSE_Pin;
  GPIO_InitStruct.Mode = GPIO_MODE_INPUT;
  GPIO_InitStruct.Pull = GPIO_NOPULL;
  HAL_GPIO_Init(USB_VBUS_SENSE_GPIO_Port, &GPIO_InitStruct);

  /*Configure GPIO pin : USB_UCPD_CC2_Pin */
  GPIO_InitStruct.Pin = USB_UCPD_CC2_Pin;
  GPIO_InitStruct.Mode = GPIO_MODE_ANALOG;
  GPIO_InitStruct.Pull = GPIO_NOPULL;
  HAL_GPIO_Init(USB_UCPD_CC2_GPIO_Port, &GPIO_InitStruct);

  /*Configure GPIO pins : Mems_STSAFE_RESET_Pin WRLS_WKUP_W_Pin */
  GPIO_InitStruct.Pin = Mems_STSAFE_RESET_Pin|WRLS_WKUP_W_Pin;
  GPIO_InitStruct.Mode = GPIO_MODE_OUTPUT_PP;
  GPIO_InitStruct.Pull = GPIO_NOPULL;
  GPIO_InitStruct.Speed = GPIO_SPEED_FREQ_LOW;
  HAL_GPIO_Init(GPIOF, &GPIO_InitStruct);

  /*Configure GPIO pin : MCP2515_CS_Pin */
  GPIO_InitStruct.Pin = MCP2515_CS_Pin;
  GPIO_InitStruct.Mode = GPIO_MODE_OUTPUT_PP;
  GPIO_InitStruct.Pull = GPIO_NOPULL;
  GPIO_InitStruct.Speed = GPIO_SPEED_FREQ_LOW;
  HAL_GPIO_Init(MCP2515_CS_GPIO_Port, &GPIO_InitStruct);

  /* USER CODE BEGIN MX_GPIO_Init_2 */
  //Clear any pending flags BEFORE enabling.
  if (__HAL_GPIO_EXTI_GET_IT(D0_LM393_Pin) != 0x00u) {
    __HAL_GPIO_EXTI_CLEAR_IT(D0_LM393_Pin);
  }

  //Sensor - Top Priority (0)
  HAL_NVIC_SetPriority(EXTI0_IRQn, 0, 0);

  //Enables the Interrupt
  HAL_NVIC_EnableIRQ(EXTI0_IRQn);

  //CAN interruption
  HAL_NVIC_SetPriority(EXTI7_IRQn, 1, 0);
  HAL_NVIC_EnableIRQ(EXTI7_IRQn);
  /* USER CODE END MX_GPIO_Init_2 */
}

void Error_Handler(void)
{
  __disable_irq();
  while (1)
  {
  }
}
